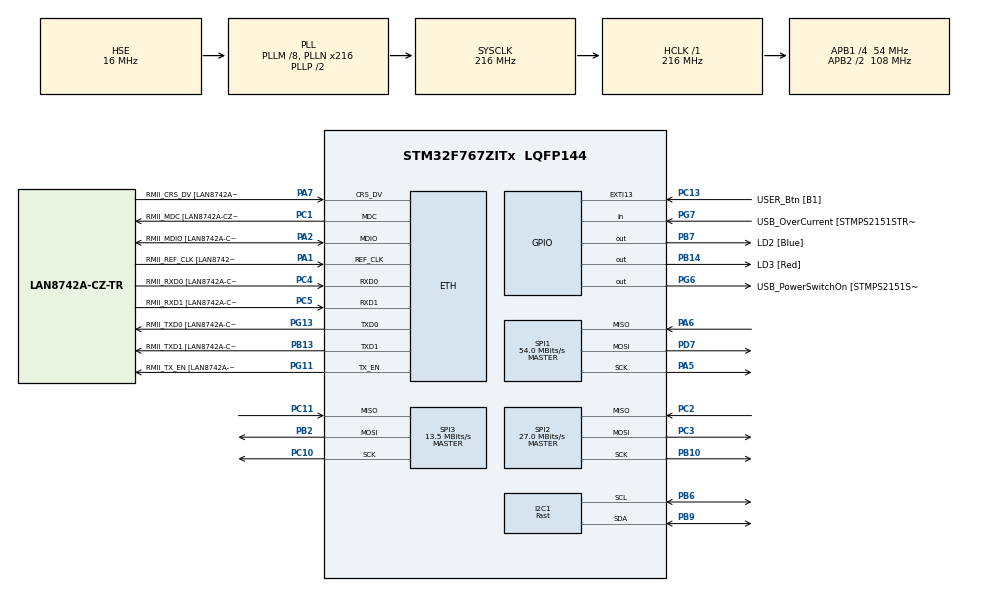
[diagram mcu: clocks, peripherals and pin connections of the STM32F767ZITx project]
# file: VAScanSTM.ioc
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ETH.MediaInterface=ETH_MEDIA_INTERFACE_RMII
I2C1.I2C_Fall_Time=200
I2C1.I2C_Rise_Time=200
I2C1.I2C_Speed_Mode=I2C_Fast
I2C1.Timing=0x10830D25
LWIP.Version=v2.0.0_Cube
Mcu.Family=STM32F7
Mcu.Name=STM32F767ZITx
Mcu.Package=LQFP144
NVIC.PriorityGroup=NVIC_PRIORITYGROUP_4
PA1.GPIO_Label=RMII_REF_CLK [LAN8742A-CZ-TR_REFCLK0]
PA1.Mode=RMII
PA1.Signal=ETH_REF_CLK
PA10.GPIO_Label=USB_ID
PA10.Signal=USB_OTG_FS_ID
PA11.GPIO_Label=USB_DM
PA11.Signal=USB_OTG_FS_DM
PA12.GPIO_Label=USB_DP
PA12.Signal=USB_OTG_FS_DP
PA13.GPIO_Label=TMS
PA13.Mode=Serial_Wire
PA13.Signal=SYS_JTMS-SWDIO
PA14.GPIO_Label=TCK
PA14.Mode=Serial_Wire
PA14.Signal=SYS_JTCK-SWCLK
PA2.GPIO_Label=RMII_MDIO [LAN8742A-CZ-TR_MDIO]
PA2.Mode=RMII
PA2.Signal=ETH_MDIO
PA5.Mode=Full_Duplex_Master
PA5.Signal=SPI1_SCK
PA6.Mode=Full_Duplex_Master
PA6.Signal=SPI1_MISO
PA7.GPIO_Label=RMII_CRS_DV [LAN8742A-CZ-TR_CRS_DV]
PA7.Mode=RMII
PA7.Signal=ETH_CRS_DV
PA8.GPIO_Label=USB_SOF [TP1]
PA8.Signal=USB_OTG_FS_SOF
PA9.GPIO_Label=USB_VBUS
PA9.Signal=USB_OTG_FS_VBUS
PB10.Mode=Full_Duplex_Master
PB10.Signal=SPI2_SCK
PB13.GPIO_Label=RMII_TXD1 [LAN8742A-CZ-TR_TXD1]
PB13.Mode=RMII
PB13.Signal=ETH_TXD1
PB14.GPIO_Label=LD3 [Red]
PB14.Signal=GPIO_Output
PB2.Mode=Full_Duplex_Master
PB2.Signal=SPI3_MOSI
PB3.GPIO_Label=SW0
PB3.Signal=SYS_JTDO-SWO
PB6.Mode=I2C
PB6.Signal=I2C1_SCL
PB7.GPIO_Label=LD2 [Blue]
PB7.Signal=GPIO_Output
PB9.Mode=I2C
PB9.Signal=I2C1_SDA
PC1.GPIO_Label=RMII_MDC [LAN8742A-CZ-TR_MDC]
PC1.Mode=RMII
PC1.Signal=ETH_MDC
PC10.Mode=Full_Duplex_Master
PC10.Signal=SPI3_SCK
PC11.Mode=Full_Duplex_Master
PC11.Signal=SPI3_MISO
PC13.GPIO_Label=USER_Btn [B1]
PC13.Signal=GPXTI13
PC14/OSC32_IN.Signal=RCC_OSC32_IN
PC15/OSC32_OUT.Signal=RCC_OSC32_OUT
PC2.Mode=Full_Duplex_Master
PC2.Signal=SPI2_MISO
PC3.Mode=Full_Duplex_Master
PC3.Signal=SPI2_MOSI
PC4.GPIO_Label=RMII_RXD0 [LAN8742A-CZ-TR_RXD0]
PC4.Mode=RMII
PC4.Signal=ETH_RXD0
PC5.GPIO_Label=RMII_RXD1 [LAN8742A-CZ-TR_RXD1]
PC5.Mode=RMII
PC5.Signal=ETH_RXD1
PD7.Mode=Full_Duplex_Master
PD7.Signal=SPI1_MOSI
PD8.GPIO_Label=STLK_RX [STM32F103CBT6_PA3]
PD8.Signal=USART3_TX
PD9.GPIO_Label=STLK_TX [STM32F103CBT6_PA2]
PD9.Signal=USART3_RX
PG11.GPIO_Label=RMII_TX_EN [LAN8742A-CZ-TR_TXEN]
PG11.Mode=RMII
PG11.Signal=ETH_TX_EN
PG13.GPIO_Label=RMII_TXD0 [LAN8742A-CZ-TR_TXD0]
PG13.Mode=RMII
PG13.Signal=ETH_TXD0
PG6.GPIO_Label=USB_PowerSwitchOn [STMPS2151STR_EN]
PG6.Signal=GPIO_Output
PG7.GPIO_Label=USB_OverCurrent [STMPS2151STR_FAULT]
PG7.Signal=GPIO_Input
PH0/OSC_IN.GPIO_Label=MCO [STM32F103CBT6_PA8]
PH0/OSC_IN.Mode=HSE-External-Oscillator
PH0/OSC_IN.Signal=RCC_OSC_IN
PH1/OSC_OUT.Mode=HSE-External-Oscillator
PH1/OSC_OUT.Signal=RCC_OSC_OUT
ProjectManager.HeapSize=0x200
ProjectManager.StackSize=0x400
ProjectManager.TargetToolchain=SW4STM32
RCC.48MHZClocksFreq_Value=24000000
RCC.AHBFreq_Value=216000000
RCC.APB1CLKDivider=RCC_HCLK_DIV4
RCC.APB1Freq_Value=54000000
RCC.APB1TimFreq_Value=108000000
RCC.APB2CLKDivider=RCC_HCLK_DIV2
RCC.APB2Freq_Value=108000000
RCC.APB2TimFreq_Value=216000000
RCC.CortexFreq_Value=216000000
RCC.HCLKFreq_Value=216000000
RCC.HSE_VALUE=16000000
RCC.HSI_VALUE=16000000
RCC.LSE_VALUE=32768
RCC.PLLM=8
RCC.PLLMUL=RCC_PLL_MUL9
RCC.PLLN=216
RCC.PLLSourceVirtual=RCC_PLLSOURCE_HSE
RCC.PRESCALERUSB=RCC_USBCLKSOURCE_PLL_DIV1_5
RCC.SYSCLKFreq_VALUE=216000000
RCC.SYSCLKSource=RCC_SYSCLKSOURCE_PLLCLK
RCC.SYSCLKSourceVirtual=RCC_SYSCLKSOURCE_PLLCLK
RCC.USBFreq_Value=216000000
RCC.VCOOutputFreq_Value=432000000
SPI1.CalculateBaudRate=54.0 MBits/s
SPI1.DataSize=SPI_DATASIZE_6BIT
SPI1.Direction=SPI_DIRECTION_2LINES
SPI1.Mode=SPI_MODE_MASTER
SPI1.NSSPMode=SPI_NSS_PULSE_DISABLE
SPI1.TIMode=SPI_TIMODE_DISABLE
SPI1.VirtualType=VM_MASTER
SPI2.CalculateBaudRate=27.0 MBits/s
SPI2.DataSize=SPI_DATASIZE_6BIT
SPI2.Direction=SPI_DIRECTION_2LINES
SPI2.Mode=SPI_MODE_MASTER
SPI2.NSSPMode=SPI_NSS_PULSE_DISABLE
SPI2.VirtualType=VM_MASTER
SPI3.BaudRatePrescaler=SPI_BAUDRATEPRESCALER_4
SPI3.CLKPhase=SPI_PHASE_2EDGE
SPI3.CalculateBaudRate=13.5 MBits/s
SPI3.DataSize=SPI_DATASIZE_6BIT
SPI3.Direction=SPI_DIRECTION_2LINES
SPI3.Mode=SPI_MODE_MASTER
SPI3.VirtualType=VM_MASTER
VP_LWIP_VS_Enabled.Mode=Enabled
board=NUCLEO-F767ZI

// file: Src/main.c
/**
  ******************************************************************************
  * File Name          : main.c
  * Description        : Main program body
  ******************************************************************************
  * This notice applies to any and all portions of this file
  * that are not between comment pairs USER CODE BEGIN and
  * USER CODE END. Other portions of this file, whether
  * inserted by the user or by software development tools
  * are owned by their respective copyright owners.
  *
  * Copyright (c) 2017 STMicroelectronics International N.V.
  * All rights reserved.
  *
  * Redistribution and use in source and binary forms, with or without
  * modification, are permitted, provided that the following conditions are met:
  *
  * 1. Redistribution of source code must retain the above copyright notice,
  *    this list of conditions and the following disclaimer.
  * 2. Redistributions in binary form must reproduce the above copyright notice,
  *    this list of conditions and the following disclaimer in the documentation
  *    and/or other materials provided with the distribution.
  * 3. Neither the name of STMicroelectronics nor the names of other
  *    contributors to this software may be used to endorse or promote products
  *    derived from this software without specific written permission.
  * 4. This software, including modifications and/or derivative works of this
  *    software, must execute solely and exclusively on microcontroller or
  *    microprocessor devices manufactured by or for STMicroelectronics.
  * 5. Redistribution and use of this software other than as permitted under
  *    this license is void and will automatically terminate your rights under
  *    this license.
  *
  * THIS SOFTWARE IS PROVIDED BY STMICROELECTRONICS AND CONTRIBUTORS "AS IS"
  * AND ANY EXPRESS, IMPLIED OR STATUTORY WARRANTIES, INCLUDING, BUT NOT
  * LIMITED TO, THE IMPLIED WARRANTIES OF MERCHANTABILITY, FITNESS FOR A
  * PARTICULAR PURPOSE AND NON-INFRINGEMENT OF THIRD PARTY INTELLECTUAL PROPERTY
  * RIGHTS ARE DISCLAIMED TO THE FULLEST EXTENT PERMITTED BY LAW. IN NO EVENT
  * SHALL STMICROELECTRONICS OR CONTRIBUTORS BE LIABLE FOR ANY DIRECT, INDIRECT,
  * INCIDENTAL, SPECIAL, EXEMPLARY, OR CONSEQUENTIAL DAMAGES (INCLUDING, BUT NOT
  * LIMITED TO, PROCUREMENT OF SUBSTITUTE GOODS OR SERVICES; LOSS OF USE, DATA,
  * OR PROFITS; OR BUSINESS INTERRUPTION) HOWEVER CAUSED AND ON ANY THEORY OF
  * LIABILITY, WHETHER IN CONTRACT, STRICT LIABILITY, OR TORT (INCLUDING
  * NEGLIGENCE OR OTHERWISE) ARISING IN ANY WAY OUT OF THE USE OF THIS SOFTWARE,
  * EVEN IF ADVISED OF THE POSSIBILITY OF SUCH DAMAGE.
  *
  ******************************************************************************
  */

#include <lwip/tcp.h>
#include <string.h>
#include "main.h"
#include "stm32f7xx_hal.h"
#include "i2c.h"
#include "lwip.h"
#include "spi.h"
#include "gpio.h"

/* USER CODE BEGIN PV */
/* Private variables ---------------------------------------------------------*/

/* USER CODE END PV */

void SystemClock_Config(void);

/* USER CODE BEGIN PFP */
/* Private function prototypes -----------------------------------------------*/

/* USER CODE END PFP */

/* USER CODE BEGIN 0 */
extern ip4_addr_t ipaddr;
struct tcp_pcb *TCPSockJSON;

static err_t json_client_sent(void *arg, struct tcp_pcb *pcb, u16_t len)
{
    LWIP_UNUSED_ARG(arg);
    return ERR_OK;
}

static err_t json_connected(void *arg, struct tcp_pcb *pcb, err_t err)
{
    char *string = "{\"hop\": 0}";
    LWIP_UNUSED_ARG(arg);
    if(err == ERR_OK)
    {
        tcp_write(pcb, string, strlen(string), 0);
        tcp_output(pcb);
    }
    return err;
}
/* USER CODE END 0 */

int main(void)
{

  /* USER CODE BEGIN 1 */
    uint8_t pData[10];
  /* USER CODE END 1 */

  /* MCU Configuration----------------------------------------------------------*/

  /* Reset of all peripherals, Initializes the Flash interface and the Systick. */
  HAL_Init();

  /* Configure the system clock */
  SystemClock_Config();

  /* Initialize all configured peripherals */
  MX_GPIO_Init();
  MX_I2C1_Init();
  MX_SPI1_Init();
  MX_SPI2_Init();
  MX_SPI3_Init();
  MX_LWIP_Init();

  /* USER CODE BEGIN 2 */
    // настройка PCA9534
    pData[0] = 0x03;
    pData[1] = 0xFF;
    HAL_I2C_Master_Transmit(&hi2c1, 0x20, pData, 2, 10);
    // LWIP
	IP4_ADDR(&ipaddr, 192,168,1,152);
	TCPSockJSON = tcp_new();
    tcp_sent(TCPSockJSON, json_client_sent);
	tcp_connect(TCPSockJSON, &ipaddr, 9090, json_connected);

  /* USER CODE END 2 */

  /* Infinite loop */
  while (1)
  {
      HAL_I2C_Master_Receive(&hi2c1, 0x20, pData, 1, 10);
  }

}

/** System Clock Configuration
*/
void SystemClock_Config(void)
{

  RCC_OscInitTypeDef RCC_OscInitStruct;
  RCC_ClkInitTypeDef RCC_ClkInitStruct;
  RCC_PeriphCLKInitTypeDef PeriphClkInitStruct;

    /**Configure the main internal regulator output voltage
    */
  __HAL_RCC_PWR_CLK_ENABLE();

  __HAL_PWR_VOLTAGESCALING_CONFIG(PWR_REGULATOR_VOLTAGE_SCALE1);

    /**Initializes the CPU, AHB and APB busses clocks
    */
  RCC_OscInitStruct.OscillatorType = RCC_OSCILLATORTYPE_HSE;
  RCC_OscInitStruct.HSEState = RCC_HSE_ON;
  RCC_OscInitStruct.PLL.PLLState = RCC_PLL_ON;
  RCC_OscInitStruct.PLL.PLLSource = RCC_PLLSOURCE_HSE;
  RCC_OscInitStruct.PLL.PLLM = 8;
  RCC_OscInitStruct.PLL.PLLN = 216;
  RCC_OscInitStruct.PLL.PLLP = RCC_PLLP_DIV2;
  RCC_OscInitStruct.PLL.PLLQ = 2;
  if (HAL_RCC_OscConfig(&RCC_OscInitStruct) != HAL_OK)
  {
    _Error_Handler(__FILE__, __LINE__);
  }

    /**Activate the Over-Drive mode
    */
  if (HAL_PWREx_EnableOverDrive() != HAL_OK)
  {
    _Error_Handler(__FILE__, __LINE__);
  }

    /**Initializes the CPU, AHB and APB busses clocks
    */
  RCC_ClkInitStruct.ClockType = RCC_CLOCKTYPE_HCLK|RCC_CLOCKTYPE_SYSCLK
                              |RCC_CLOCKTYPE_PCLK1|RCC_CLOCKTYPE_PCLK2;
  RCC_ClkInitStruct.SYSCLKSource = RCC_SYSCLKSOURCE_PLLCLK;
  RCC_ClkInitStruct.AHBCLKDivider = RCC_SYSCLK_DIV1;
  RCC_ClkInitStruct.APB1CLKDivider = RCC_HCLK_DIV4;
  RCC_ClkInitStruct.APB2CLKDivider = RCC_HCLK_DIV2;

  if (HAL_RCC_ClockConfig(&RCC_ClkInitStruct, FLASH_LATENCY_7) != HAL_OK)
  {
    _Error_Handler(__FILE__, __LINE__);
  }

  PeriphClkInitStruct.PeriphClockSelection = RCC_PERIPHCLK_I2C1;
  PeriphClkInitStruct.I2c1ClockSelection = RCC_I2C1CLKSOURCE_PCLK1;
  if (HAL_RCCEx_PeriphCLKConfig(&PeriphClkInitStruct) != HAL_OK)
  {
    _Error_Handler(__FILE__, __LINE__);
  }

    /**Configure the Systick interrupt time
    */
  HAL_SYSTICK_Config(HAL_RCC_GetHCLKFreq()/1000);

    /**Configure the Systick
    */
  HAL_SYSTICK_CLKSourceConfig(SYSTICK_CLKSOURCE_HCLK);

  /* SysTick_IRQn interrupt configuration */
  HAL_NVIC_SetPriority(SysTick_IRQn, 0, 0);
}

void _Error_Handler(char * file, int line)
{
  while(1)
  {
  }
}

/************************ (C) COPYRIGHT STMicroelectronics *****END OF FILE****/
